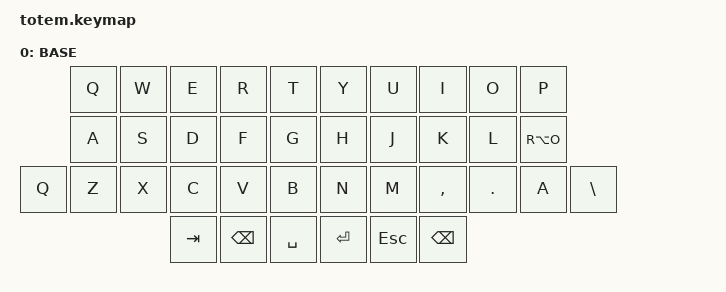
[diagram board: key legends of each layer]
//
//                                                        ▀▀▀▀▀     ▀▀▀▀▀          ▀▀█▀▀
//                                                        ▄▀▀▀▄  ▄  ▄▀▀▀▄  ▄  ▄▀▀▀▄  █  ▄▀▀▀▄
//                                                        █   █  █  █   █  █  █   █  █  █   █
//                                                         ▀▀▀   █   ▀▀▀   █   ▀▀▀   ▀   ▀▀▀
//                                                               █      ▄▄▄█▄▄▄    █   █  
//                                                               ▀      █  █  █     █▄█
//                                                             ▀▀▀▀▀    █  █  █      ▀
//                                                                      ▀  ▀  ▀
//
// ▄▄▄▄▄▄▄▄▄▄▄▄▄▄▄▄▄▄▄▄▄▄▄▄▄▄▄▄▄▄▄▄▄▄▄▄▄▄▄▄▄▄▄▄▄▄▄▄▄▄▄▄▄▄▄▄▄▄▄▄▄▄▄▄▄▄▄▄▄▄▄▄▄▄▄▄▄▄▄▄▄▄▄▄▄▄▄▄▄▄▄▄▄▄▄▄▄▄▄▄▄▄▄▄▄▄▄▄▄▄▄▄▄▄▄▄▄▄▄▄▄▄▄▄▄▄▄▄▄▄▄▄▄▄▄▄▄▄▄▄▄▄▄▄▄▄▄▄▄

#include <behaviors.dtsi>
#include <dt-bindings/zmk/keys.h>

#define BASE 0
#define NAV  1
#define SYM  2
#define ADJ  3
#define TVP1 4
#define TVP2 5

&mt {
    quick-tap-ms = <100>;
    global-quick-tap;
    flavor = "tap-preferred";
    tapping-term-ms = <170>;
};

/ {
    combos {
        compatible = "zmk,combos";

        combo_esc {
            timeout-ms = <50>;
            key-positions = <0 1>;
            bindings = <&kp ESC>;
        };

        combo_tvp {
            timeout-ms = <100>;
            key-positions = <11 12 13>;
            bindings = <&tog 0>;
        };
    };

    macros {
        gif: gif {
            label = "giphy";
            compatible = "zmk,behavior-macro";
            #binding-cells = <0>;
            bindings =
                <&macro_press>,
                <&kp LSHFT>,
                <&macro_tap>,
                <&kp N2>,
                <&macro_release>,
                <&kp LSHFT>,
                <&macro_tap>,
                <&kp G &kp I &kp F>;
        };
    };

    keymap {
        compatible = "zmk,keymap";

        // ▄▄▄▄▄▄▄▄▄▄▄▄▄▄▄▄▄▄▄▄▄▄▄▄▄▄▄▄▄▄▄▄▄▄▄▄▄▄▄▄▄▄▄▄▄▄▄▄▄▄▄▄▄▄▄▄▄▄▄▄▄▄▄▄▄▄▄▄▄▄▄▄▄▄▄▄▄▄▄▄▄▄▄▄▄▄▄▄▄▄▄▄▄▄▄▄▄▄▄▄▄▄▄▄▄▄▄▄▄▄▄▄▄▄▄▄▄▄▄▄▄▄▄▄▄▄▄▄▄▄▄▄▄▄▄▄▄▄▄▄▄▄▄▄▄▄▄▄▄

        base_layer {
            // ┏━━━━━━━━━━━━━━━━━━━━━━━━━━━━━━━━━━━━━━━┓

            label = "BASE";

            // ┗━━━━━━━━━━━━━━━━━━━━━━━━━━━━━━━━━━━━━━━┛
            //             ┏━━━━━━━━━━━┳━━━━━━━━━━━┳━━━━━━━━━━━┳━━━━━━━━━━━┳━━━━━━━━━━━┓   ┏━━━━━━━━━━━┳━━━━━━━━━━━┳━━━━━━━━━━━┳━━━━━━━━━━━┳━━━━━━━━━━━┓
            //             ┃     Q     ┃     W     ┃     F     ┃     P     ┃     G     ┃   ┃     J     ┃     L     ┃     U     ┃     Y     ┃     ;     ┃
            //             ┣━━━━━━━━━━━╋━━━━━━━━━━━╋━━━━━━━━━━━╋━━━━━━━━━━━╋━━━━━━━━━━━┫   ┣━━━━━━━━━━━╋━━━━━━━━━━━╋━━━━━━━━━━━╋━━━━━━━━━━━╋━━━━━━━━━━━┫
            //             ┃     A     ┃     R     ┃     S     ┃     T     ┃     D     ┃   ┃     H     ┃     N     ┃     E     ┃     I     ┃     O     ┃
            // ┏━━━━━━━━━━━╋━━━━━━━━━━━╋━━━━━━━━━━━╋━━━━━━━━━━━╋━━━━━━━━━━━╋━━━━━━━━━━━┫   ┣━━━━━━━━━━━╋━━━━━━━━━━━╋━━━━━━━━━━━╋━━━━━━━━━━━╋━━━━━━━━━━━╋━━━━━━━━━━━┓
            // ┃     Q     ┃     Z     ┃     X     ┃     C     ┃     V     ┃     B     ┃   ┃     K     ┃     M     ┃     ,     ┃     .     ┃     /     ┃     \     ┃
            // ┗━━━━━━━━━━━┻━━━━━━━━━━━┻━━━━━━━━━━━╋━━━━━━━━━━━╋━━━━━━━━━━━╋━━━━━━━━━━━┫   ┣━━━━━━━━━━━╋━━━━━━━━━━━╋━━━━━━━━━━━╋━━━━━━━━━━━┻━━━━━━━━━━━┻━━━━━━━━━━━┛
            //                                     ┃    DEL    ┃    TAB    ┃    SPC    ┃   ┃   ENTER   ┃           ┃   BSPC    ┃
            //                                     ┗━━━━━━━━━━━┻━━━━━━━━━━━┻━━━━━━━━━━━┛   ┗━━━━━━━━━━━┻━━━━━━━━━━━┻━━━━━━━━━━━┛

            bindings = <
       &kp Q  &kp W  &kp E    &kp R          &kp T        &kp Y    &kp U       &kp I      &kp O    &kp P
       &kp A  &kp S  &kp D    &kp F          &kp G        &kp H    &kp J       &kp K      &kp L    &kp RA(O)
&kp Q  &kp Z  &kp X  &kp C    &kp V          &kp B        &kp N    &kp M       &kp COMMA  &kp DOT  &kp A      &kp BSLH
                     &kp TAB  &kp BACKSPACE  &kp SPACE    &kp RET  &kp ESCAPE  &kp BSPC
            >;
        };

        // ▄▄▄▄▄▄▄▄▄▄▄▄▄▄▄▄▄▄▄▄▄▄▄▄▄▄▄▄▄▄▄▄▄▄▄▄▄▄▄▄▄▄▄▄▄▄▄▄▄▄▄▄▄▄▄▄▄▄▄▄▄▄▄▄▄▄▄▄▄▄▄▄▄▄▄▄▄▄▄▄▄▄▄▄▄▄▄▄▄▄▄▄▄▄▄▄▄▄▄▄▄▄▄▄▄▄▄▄▄▄▄▄▄▄▄▄▄▄▄▄▄▄▄▄▄▄▄▄▄▄▄▄▄▄▄▄▄▄▄▄▄▄▄▄▄▄▄▄▄
        // ▄▄▄▄▄▄▄▄▄▄▄▄▄▄▄▄▄▄▄▄▄▄▄▄▄▄▄▄▄▄▄▄▄▄▄▄▄▄▄▄▄▄▄▄▄▄▄▄▄▄▄▄▄▄▄▄▄▄▄▄▄▄▄▄▄▄▄▄▄▄▄▄▄▄▄▄▄▄▄▄▄▄▄▄▄▄▄▄▄▄▄▄▄▄▄▄▄▄▄▄▄▄▄▄▄▄▄▄▄▄▄▄▄▄▄▄▄▄▄▄▄▄▄▄▄▄▄▄▄▄▄▄▄▄▄▄▄▄▄▄▄▄▄▄▄▄▄▄▄
        // ▄▄▄▄▄▄▄▄▄▄▄▄▄▄▄▄▄▄▄▄▄▄▄▄▄▄▄▄▄▄▄▄▄▄▄▄▄▄▄▄▄▄▄▄▄▄▄▄▄▄▄▄▄▄▄▄▄▄▄▄▄▄▄▄▄▄▄▄▄▄▄▄▄▄▄▄▄▄▄▄▄▄▄▄▄▄▄▄▄▄▄▄▄▄▄▄▄▄▄▄▄▄▄▄▄▄▄▄▄▄▄▄▄▄▄▄▄▄▄▄▄▄▄▄▄▄▄▄▄▄▄▄▄▄▄▄▄▄▄▄▄▄▄▄▄▄▄▄▄
        // ▄▄▄▄▄▄▄▄▄▄▄▄▄▄▄▄▄▄▄▄▄▄▄▄▄▄▄▄▄▄▄▄▄▄▄▄▄▄▄▄▄▄▄▄▄▄▄▄▄▄▄▄▄▄▄▄▄▄▄▄▄▄▄▄▄▄▄▄▄▄▄▄▄▄▄▄▄▄▄▄▄▄▄▄▄▄▄▄▄▄▄▄▄▄▄▄▄▄▄▄▄▄▄▄▄▄▄▄▄▄▄▄▄▄▄▄▄▄▄▄▄▄▄▄▄▄▄▄▄▄▄▄▄▄▄▄▄▄▄▄▄▄▄▄▄▄▄▄▄
        // ▄▄▄▄▄▄▄▄▄▄▄▄▄▄▄▄▄▄▄▄▄▄▄▄▄▄▄▄▄▄▄▄▄▄▄▄▄▄▄▄▄▄▄▄▄▄▄▄▄▄▄▄▄▄▄▄▄▄▄▄▄▄▄▄▄▄▄▄▄▄▄▄▄▄▄▄▄▄▄▄▄▄▄▄▄▄▄▄▄▄▄▄▄▄▄▄▄▄▄▄▄▄▄▄▄▄▄▄▄▄▄▄▄▄▄▄▄▄▄▄▄▄▄▄▄▄▄▄▄▄▄▄▄▄▄▄▄▄▄▄▄▄▄▄▄▄▄▄▄
    };
};
